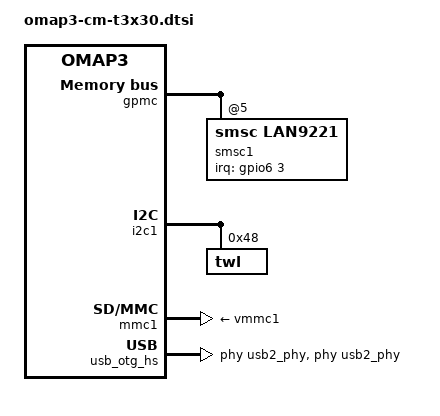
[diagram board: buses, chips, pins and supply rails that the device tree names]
// SPDX-License-Identifier: GPL-2.0
/*
 * Common support for CompuLab CM-T3x30 CoMs
 */

#include "omap3-cm-t3x.dtsi"

/ {
	cpus {
		cpu@0 {
			cpu0-supply = <&vcc>;
		};
	};

	sound {
		compatible = "ti,omap-twl4030";
		ti,model = "cm-t35";

		ti,mcbsp = <&mcbsp2>;
	};
};

&omap3_pmx_core {

	smsc1_pins: smsc1-pins {
		pinctrl-single,pins = <
			OMAP3_CORE1_IOPAD(0x20b8, PIN_OUTPUT | MUX_MODE0)	/* gpmc_ncs5.gpmc_ncs5 */
			OMAP3_CORE1_IOPAD(0x219a, PIN_INPUT_PULLUP | MUX_MODE4)	/* uart3_cts_rctx.gpio_163 */
		>;
	};

 	hsusb0_pins: hsusb0-pins {
		pinctrl-single,pins = <
			OMAP3_CORE1_IOPAD(0x21a2, PIN_OUTPUT | MUX_MODE0)		/* hsusb0_clk.hsusb0_clk */
			OMAP3_CORE1_IOPAD(0x21a4, PIN_OUTPUT | MUX_MODE0)		/* hsusb0_stp.hsusb0_stp */
			OMAP3_CORE1_IOPAD(0x21a6, PIN_INPUT_PULLDOWN | MUX_MODE0)	/* hsusb0_dir.hsusb0_dir */
			OMAP3_CORE1_IOPAD(0x21a8, PIN_INPUT_PULLDOWN | MUX_MODE0)	/* hsusb0_nxt.hsusb0_nxt */
			OMAP3_CORE1_IOPAD(0x21aa, PIN_INPUT_PULLDOWN | MUX_MODE0)	/* hsusb0_data0.hsusb2_data0 */
			OMAP3_CORE1_IOPAD(0x21ac, PIN_INPUT_PULLDOWN | MUX_MODE0)	/* hsusb0_data1.hsusb0_data1 */
			OMAP3_CORE1_IOPAD(0x21ae, PIN_INPUT_PULLDOWN | MUX_MODE0)	/* hsusb0_data2.hsusb0_data2 */
			OMAP3_CORE1_IOPAD(0x21b0, PIN_INPUT_PULLDOWN | MUX_MODE0)	/* hsusb0_data7.hsusb0_data3 */
			OMAP3_CORE1_IOPAD(0x21b2, PIN_INPUT_PULLDOWN | MUX_MODE0)	/* hsusb0_data7.hsusb0_data4 */
			OMAP3_CORE1_IOPAD(0x21b4, PIN_INPUT_PULLDOWN | MUX_MODE0)	/* hsusb0_data7.hsusb0_data5 */
			OMAP3_CORE1_IOPAD(0x21b6, PIN_INPUT_PULLDOWN | MUX_MODE0)	/* hsusb0_data7.hsusb0_data6 */
			OMAP3_CORE1_IOPAD(0x21b8, PIN_INPUT_PULLDOWN | MUX_MODE0)	/* hsusb0_data7.hsusb0_data7 */
		>;
	};
};

#include "omap-gpmc-smsc911x.dtsi"

&gpmc {
	ranges = <5 0 0x2c000000 0x01000000>, /* CM-T3x30 SMSC9x Eth */
		 <0 0 0x00000000 0x01000000>; /* CM-T3x NAND */

	smsc1: ethernet@gpmc {
		compatible = "smsc,lan9221", "smsc,lan9115";
		pinctrl-names = "default";
		pinctrl-0 = <&smsc1_pins>;
		interrupt-parent = <&gpio6>;
		interrupts = <3 IRQ_TYPE_LEVEL_LOW>;
		reg = <5 0 0xff>;
	};
};

&i2c1 {
	twl: twl@48 {
		reg = <0x48>;
		interrupts = <7>; /* SYS_NIRQ cascaded to intc */
		interrupt-parent = <&intc>;

		twl_audio: audio {
			compatible = "ti,twl4030-audio";
			codec {
			};
		};
	};
};

#include "twl4030.dtsi"
#include "twl4030_omap3.dtsi"
#include <dt-bindings/input/input.h>

&venc {
	vdda-supply = <&vdac>;
};

&mmc1 {
	vmmc-supply = <&vmmc1>;
};

&twl_gpio {
	ti,use-leds;
	/* pullups: BIT(0) */
	ti,pullups = <0x000001>;
};

&twl_keypad {
	linux,keymap = <
				MATRIX_KEY(0x00, 0x01, KEY_A)
				MATRIX_KEY(0x00, 0x02, KEY_B)
				MATRIX_KEY(0x00, 0x03, KEY_LEFT)

				MATRIX_KEY(0x01, 0x01, KEY_UP)
				MATRIX_KEY(0x01, 0x02, KEY_ENTER)
				MATRIX_KEY(0x01, 0x03, KEY_DOWN)

				MATRIX_KEY(0x02, 0x01, KEY_RIGHT)
				MATRIX_KEY(0x02, 0x02, KEY_C)
				MATRIX_KEY(0x02, 0x03, KEY_D)
			>;
};

&hsusb1_phy {
	reset-gpios = <&twl_gpio 6 GPIO_ACTIVE_LOW>;
};

&hsusb2_phy {
	reset-gpios = <&twl_gpio 7 GPIO_ACTIVE_LOW>;
};

&usb_otg_hs {
	pinctrl-names = "default";
	pinctrl-0 = <&hsusb0_pins>;
	interface-type = <0>;
	usb-phy = <&usb2_phy>;
	phys = <&usb2_phy>;
	phy-names = "usb2-phy";
	mode = <3>;
	power = <50>;
};
